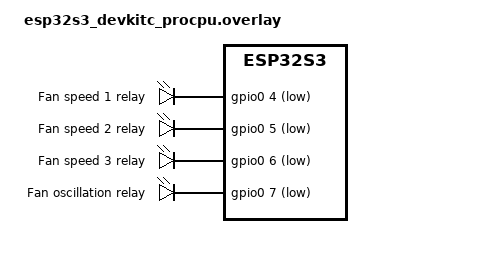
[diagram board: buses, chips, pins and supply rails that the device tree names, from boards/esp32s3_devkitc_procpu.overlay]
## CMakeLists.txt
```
# SPDX-License-Identifier: Apache-2.0

cmake_minimum_required(VERSION 3.20.0)
find_package(Zephyr REQUIRED HINTS $ENV{ZEPHYR_BASE})
project(wifi_fan)

target_sources(app PRIVATE
  src/main.c
  src/fan_controller.c
  src/wifi_manager.c
  src/time_manager.c
  src/mqtt_tls.c
  src/mqtt_fan.c
)

set(gen_dir ${ZEPHYR_BINARY_DIR}/include/generated)

generate_inc_file_for_target(
  app
  ${APPLICATION_SOURCE_DIR}/certs/fan-ca.crt
  ${gen_dir}/fan-ca.crt.inc
)
```

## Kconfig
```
# SPDX-License-Identifier: Apache-2.0

mainmenu "Wi-Fi fan controller"

menu "Wi-Fi fan settings"

config WIFI_FAN_WIFI_SSID
	string "Wi-Fi SSID"
	default ""

config WIFI_FAN_WIFI_PASSWORD
	string "Wi-Fi password"
	default ""

config WIFI_FAN_MQTT_HOST
	string "TLS MQTT broker hostname"
	default "ej3989.iptime.org"

config WIFI_FAN_MQTT_PORT
	int "TLS MQTT broker port"
	default 8883
	range 1 65535

config WIFI_FAN_MQTT_USERNAME
	string "MQTT username"
	default "wifi_fan_device"

config WIFI_FAN_MQTT_PASSWORD
	string "MQTT password"
	default ""

config WIFI_FAN_SNTP_HOST
	string "SNTP server hostname"
	default "pool.ntp.org"

config WIFI_FAN_SNTP_PORT
	int "SNTP server port"
	default 123
	range 1 65535

endmenu

source "Kconfig.zephyr"
```

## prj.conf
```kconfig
# GPIO relay control
CONFIG_GPIO=y

# Wi-Fi and IPv4 networking
CONFIG_NETWORKING=y
CONFIG_WIFI=y
CONFIG_WIFI_NM=y
CONFIG_NET_MGMT=y
CONFIG_NET_MGMT_EVENT=y
CONFIG_NET_MGMT_EVENT_INFO=y
CONFIG_NET_CONNECTION_MANAGER=y
CONFIG_NET_CONFIG_AUTO_INIT=n
CONFIG_NET_IPV4=y
CONFIG_NET_IPV6=n
CONFIG_NET_DHCPV4=y
CONFIG_NET_TCP=y
CONFIG_NET_UDP=y
CONFIG_NET_SOCKETS=y

# MQTT 3.1.1 over the local network
CONFIG_MQTT_LIB=y
CONFIG_MQTT_LIB_TLS=n
CONFIG_MQTT_KEEPALIVE=30
CONFIG_POSIX_API=y

# Runtime resources
CONFIG_MAIN_STACK_SIZE=6144
CONFIG_SYSTEM_WORKQUEUE_STACK_SIZE=2048
CONFIG_NET_MGMT_EVENT_STACK_SIZE=4096
CONFIG_NET_MGMT_EVENT_QUEUE_SIZE=16
CONFIG_NET_PKT_RX_COUNT=16
CONFIG_NET_PKT_TX_COUNT=16
CONFIG_NET_BUF_RX_COUNT=32
CONFIG_NET_BUF_TX_COUNT=32

# Console and logs
CONFIG_CONSOLE=y
CONFIG_SERIAL=y
CONFIG_LOG=y
CONFIG_LOG_DEFAULT_LEVEL=3
```

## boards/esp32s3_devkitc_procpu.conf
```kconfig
CONFIG_SPIRAM_MODE_OCT=y
CONFIG_ESPTOOLPY_OCT_FLASH=n
# ESP32-S3 Wi-Fi station support
CONFIG_WIFI=y
CONFIG_WIFI_ESP32=y
CONFIG_ESP32_WIFI_STA_SCAN_ALL=y
```

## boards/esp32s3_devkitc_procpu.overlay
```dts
#include <zephyr/dt-bindings/gpio/gpio.h>

/ {
	aliases {
		fan-speed-1-relay = &fan_speed_1_relay;
		fan-speed-2-relay = &fan_speed_2_relay;
		fan-speed-3-relay = &fan_speed_3_relay;
		fan-osc-relay = &fan_osc_relay;
	};

	relays {
		compatible = "gpio-leds";

		fan_speed_1_relay: fan_speed_1_relay {
			gpios = <&gpio0 4 GPIO_ACTIVE_LOW>;
			label = "Fan speed 1 relay";
		};

		fan_speed_2_relay: fan_speed_2_relay {
			gpios = <&gpio0 5 GPIO_ACTIVE_LOW>;
			label = "Fan speed 2 relay";
		};

		fan_speed_3_relay: fan_speed_3_relay {
			gpios = <&gpio0 6 GPIO_ACTIVE_LOW>;
			label = "Fan speed 3 relay";
		};

		fan_osc_relay: fan_osc_relay {
			gpios = <&gpio0 7 GPIO_ACTIVE_LOW>;
			label = "Fan oscillation relay";
		};
	};
};
```

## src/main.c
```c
/* SPDX-License-Identifier: Apache-2.0 */

#include <zephyr/kernel.h>
#include <zephyr/logging/log.h>

#include "fan_controller.h"
#include "mqtt_fan.h"
#include "mqtt_tls.h"
#include "time_manager.h"
#include "wifi_manager.h"

LOG_MODULE_REGISTER(wifi_fan, LOG_LEVEL_INF);

int main(void)
{
	int err;

	LOG_INF("Wi-Fi fan controller start");

	err = fan_controller_init();
	if (err != 0) {
		return err;
	}

	err = wifi_manager_init();
	if (err != 0) {
		return err;
	}

	err = mqtt_tls_init();
	if (err != 0) {
		return err;
	}

	while (true) {
		if (!wifi_manager_is_connected()) {
			err = wifi_manager_connect();
			if (err != 0) {
				LOG_WRN("Wi-Fi unavailable; retrying in 10 seconds");
				k_sleep(K_SECONDS(10));
				continue;
			}
		}

		err = time_manager_sync();
		if (err != 0) {
			LOG_WRN("Time unavailable; retrying in 10 seconds");
			k_sleep(K_SECONDS(10));
			continue;
		}

		err = mqtt_fan_run();
		LOG_WRN("MQTT session ended (err %d); reconnecting", err);
		k_sleep(K_SECONDS(5));
	}

	return 0;
}
```

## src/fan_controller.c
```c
/* SPDX-License-Identifier: Apache-2.0 */

#include <errno.h>

#include <zephyr/device.h>
#include <zephyr/drivers/gpio.h>
#include <zephyr/kernel.h>
#include <zephyr/logging/log.h>

#include "fan_controller.h"

LOG_MODULE_REGISTER(fan_controller, LOG_LEVEL_INF);

#define SPEED_1_RELAY_NODE DT_ALIAS(fan_speed_1_relay)
#define SPEED_2_RELAY_NODE DT_ALIAS(fan_speed_2_relay)
#define SPEED_3_RELAY_NODE DT_ALIAS(fan_speed_3_relay)
#define OSC_RELAY_NODE     DT_ALIAS(fan_osc_relay)

#define FAN_SPEED_MAX 3U
#define RELAY_BREAK_TIME_MS 100

static const struct gpio_dt_spec speed_relays[] = {
	GPIO_DT_SPEC_GET(SPEED_1_RELAY_NODE, gpios),
	GPIO_DT_SPEC_GET(SPEED_2_RELAY_NODE, gpios),
	GPIO_DT_SPEC_GET(SPEED_3_RELAY_NODE, gpios),
};
static const struct gpio_dt_spec oscillation_relay =
	GPIO_DT_SPEC_GET(OSC_RELAY_NODE, gpios);

static struct fan_state current_state;
static uint8_t last_nonzero_speed = 1U;

static int all_speed_relays_off(void)
{
	int err;

	for (size_t i = 0; i < ARRAY_SIZE(speed_relays); ++i) {
		err = gpio_pin_set_dt(&speed_relays[i], 0);
		if (err != 0) {
			LOG_ERR("Failed to turn speed relay %u off (err %d)",
				(unsigned int)i + 1U, err);
			return err;
		}
	}

	return 0;
}

int fan_controller_init(void)
{
	int err;

	for (size_t i = 0; i < ARRAY_SIZE(speed_relays); ++i) {
		if (!gpio_is_ready_dt(&speed_relays[i])) {
			LOG_ERR("Speed relay %u GPIO is not ready", (unsigned int)i + 1U);
			return -ENODEV;
		}

		err = gpio_pin_configure_dt(&speed_relays[i], GPIO_OUTPUT_INACTIVE);
		if (err != 0) {
			LOG_ERR("Failed to initialize speed relay %u (err %d)",
				(unsigned int)i + 1U, err);
			return err;
		}
	}

	if (!gpio_is_ready_dt(&oscillation_relay)) {
		LOG_ERR("Oscillation relay GPIO is not ready");
		return -ENODEV;
	}

	err = gpio_pin_configure_dt(&oscillation_relay, GPIO_OUTPUT_INACTIVE);
	if (err != 0) {
		LOG_ERR("Failed to initialize oscillation relay (err %d)", err);
		return err;
	}

	current_state.speed = 0U;
	current_state.oscillating = false;
	LOG_INF("All active-high relays initialized OFF");
	return 0;
}

int fan_set_speed(uint8_t speed)
{
	int err;

	if (speed > FAN_SPEED_MAX) {
		return -EINVAL;
	}

	if (current_state.speed == speed) {
		return 0;
	}

	err = all_speed_relays_off();
	if (err != 0) {
		return err;
	}
	current_state.speed = 0U;

	if (speed == 0U) {
		LOG_INF("Fan speed OFF");
		return 0;
	}

	/* Break-before-make prevents two motor speed taps overlapping. */
	k_msleep(RELAY_BREAK_TIME_MS);
	err = gpio_pin_set_dt(&speed_relays[speed - 1U], 1);
	if (err != 0) {
		LOG_ERR("Failed to turn speed relay %u on (err %d)",
			(unsigned int)speed, err);
		return err;
	}

	current_state.speed = speed;
	last_nonzero_speed = speed;
	LOG_INF("Fan speed %u ON", (unsigned int)speed);
	return 0;
}

int fan_set_oscillation(bool oscillating)
{
	int err;

	if (current_state.oscillating == oscillating) {
		return 0;
	}

	err = gpio_pin_set_dt(&oscillation_relay, oscillating ? 1 : 0);
	if (err != 0) {
		LOG_ERR("Failed to control oscillation relay (err %d)", err);
		return err;
	}

	current_state.oscillating = oscillating;
	LOG_INF("Oscillation %s", oscillating ? "ON" : "OFF");
	return 0;
}

int fan_turn_on(void)
{
	return fan_set_speed(last_nonzero_speed);
}

int fan_turn_off(void)
{
	int speed_err;
	int oscillation_err;

	speed_err = fan_set_speed(0U);
	oscillation_err = fan_set_oscillation(false);

	return speed_err != 0 ? speed_err : oscillation_err;
}

struct fan_state fan_get_state(void)
{
	return current_state;
}
```

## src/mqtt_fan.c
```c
/* SPDX-License-Identifier: Apache-2.0 */

#include <errno.h>
#include <stdbool.h>
#include <stdio.h>
#include <string.h>

#include <zephyr/kernel.h>
#include <zephyr/logging/log.h>
#include <zephyr/net/mqtt.h>
#include <zephyr/net/socket.h>
#include <zephyr/posix/arpa/inet.h>
#include <zephyr/posix/poll.h>

#include "fan_controller.h"
#include "mqtt_fan.h"
#include "mqtt_tls.h"
#include "wifi_manager.h"

LOG_MODULE_REGISTER(mqtt_fan, LOG_LEVEL_INF);

#define MQTT_RX_BUFFER_SIZE 1024
#define MQTT_TX_BUFFER_SIZE 2048
#define MQTT_COMMAND_BUFFER_SIZE 32
#define MQTT_CONNECT_TIMEOUT_MS 10000
#define MQTT_POLL_TIMEOUT_MS 1000
#define RSSI_PUBLISH_INTERVAL_MS 30000

#define TOPIC_POWER_COMMAND       "wifi_fan/power/set"
#define TOPIC_POWER_STATE         "wifi_fan/power/state"
#define TOPIC_SPEED_COMMAND       "wifi_fan/speed/set"
#define TOPIC_SPEED_STATE         "wifi_fan/speed/state"
#define TOPIC_OSC_COMMAND         "wifi_fan/oscillation/set"
#define TOPIC_OSC_STATE           "wifi_fan/oscillation/state"
#define TOPIC_AVAILABILITY        "wifi_fan/availability"
#define TOPIC_RSSI_STATE          "wifi_fan/wifi_rssi/state"
#define TOPIC_FAN_DISCOVERY       "homeassistant/fan/wifi_fan_esp32s3/fan/config"
#define TOPIC_RSSI_DISCOVERY      "homeassistant/sensor/wifi_fan_esp32s3/rssi/config"

#define MQTT_CLIENT_ID "wifi_fan_esp32s3"

static const char fan_discovery_payload[] =
	"{"
	"\"name\":\"Bedroom Fan\","
	"\"unique_id\":\"wifi_fan_esp32s3_fan\","
	"\"command_topic\":\"" TOPIC_POWER_COMMAND "\","
	"\"state_topic\":\"" TOPIC_POWER_STATE "\","
	"\"payload_on\":\"ON\",\"payload_off\":\"OFF\","
	"\"percentage_command_topic\":\"" TOPIC_SPEED_COMMAND "\","
	"\"percentage_state_topic\":\"" TOPIC_SPEED_STATE "\","
	"\"speed_range_min\":1,\"speed_range_max\":3,"
	"\"oscillation_command_topic\":\"" TOPIC_OSC_COMMAND "\","
	"\"oscillation_state_topic\":\"" TOPIC_OSC_STATE "\","
	"\"payload_oscillation_on\":\"ON\","
	"\"payload_oscillation_off\":\"OFF\","
	"\"availability_topic\":\"" TOPIC_AVAILABILITY "\","
	"\"payload_available\":\"online\","
	"\"payload_not_available\":\"offline\","
	"\"retain\":false,"
	"\"device\":{"
	"\"identifiers\":[\"wifi_fan_esp32s3\"],"
	"\"name\":\"Bedroom Fan Controller\","
	"\"manufacturer\":\"Zephyr practice\","
	"\"model\":\"ESP32-S3 Wi-Fi relay fan\"}"
	"}";

static const char rssi_discovery_payload[] =
	"{"
	"\"name\":\"Wi-Fi RSSI\","
	"\"unique_id\":\"wifi_fan_esp32s3_rssi\","
	"\"state_topic\":\"" TOPIC_RSSI_STATE "\","
	"\"availability_topic\":\"" TOPIC_AVAILABILITY "\","
	"\"device_class\":\"signal_strength\","
	"\"state_class\":\"measurement\","
	"\"unit_of_measurement\":\"dBm\","
	"\"entity_category\":\"diagnostic\","
	"\"device\":{\"identifiers\":[\"wifi_fan_esp32s3\"]}"
	"}";

static uint8_t mqtt_rx_buffer[MQTT_RX_BUFFER_SIZE];
static uint8_t mqtt_tx_buffer[MQTT_TX_BUFFER_SIZE];
static struct mqtt_client mqtt_client_ctx;
static struct sockaddr_in broker_address;
static struct pollfd mqtt_poll_fd;
static bool mqtt_connected;
static bool fan_state_dirty;
static uint16_t next_message_id = 1U;

static struct mqtt_utf8 mqtt_username;
static struct mqtt_utf8 mqtt_password;
static struct mqtt_topic mqtt_will_topic;
static struct mqtt_utf8 mqtt_will_message;

static uint16_t allocate_message_id(void)
{
	uint16_t id = next_message_id++;

	if (next_message_id == 0U) {
		next_message_id = 1U;
	}
	return id;
}

static bool topic_equals(const struct mqtt_utf8 *topic, const char *expected)
{
	size_t expected_length = strlen(expected);

	return topic->size == expected_length &&
	       memcmp(topic->utf8, expected, expected_length) == 0;
}

static int publish_text(const char *topic, const char *payload,
			bool retain, enum mqtt_qos qos)
{
	struct mqtt_publish_param param = {0};

	param.message.topic.topic.utf8 = (uint8_t *)topic;
	param.message.topic.topic.size = strlen(topic);
	param.message.topic.qos = qos;
	param.message.payload.data = (uint8_t *)payload;
	param.message.payload.len = strlen(payload);
	param.message_id = qos == MQTT_QOS_0_AT_MOST_ONCE ?
		0U : allocate_message_id();
	param.retain_flag = retain ? 1U : 0U;

	return mqtt_publish(&mqtt_client_ctx, &param);
}

static int publish_fan_state(void)
{
	struct fan_state state = fan_get_state();
	char speed[2];
	int err;

	snprintk(speed, sizeof(speed), "%u", (unsigned int)state.speed);

	err = publish_text(TOPIC_POWER_STATE,
			   state.speed > 0U ? "ON" : "OFF", true,
			   MQTT_QOS_1_AT_LEAST_ONCE);
	if (err == 0) {
		err = publish_text(TOPIC_SPEED_STATE, speed, true,
				   MQTT_QOS_1_AT_LEAST_ONCE);
	}
	if (err == 0) {
		err = publish_text(TOPIC_OSC_STATE,
				   state.oscillating ? "ON" : "OFF", true,
				   MQTT_QOS_1_AT_LEAST_ONCE);
	}

	if (err != 0) {
		LOG_ERR("Failed to publish fan state (err %d)", err);
	}
	return err;
}

static int publish_rssi(void)
{
	char payload[16];
	int rssi;
	int err;

	err = wifi_manager_get_rssi(&rssi);
	if (err != 0) {
		LOG_WRN("Failed to read Wi-Fi RSSI (err %d)", err);
		return err;
	}

	snprintk(payload, sizeof(payload), "%d", rssi);
	err = publish_text(TOPIC_RSSI_STATE, payload, true,
			   MQTT_QOS_1_AT_LEAST_ONCE);
	if (err == 0) {
		LOG_INF("Wi-Fi RSSI: %d dBm", rssi);
	}
	return err;
}

static int publish_discovery(void)
{
	int err;

	err = publish_text(TOPIC_FAN_DISCOVERY, fan_discovery_payload, true,
			   MQTT_QOS_1_AT_LEAST_ONCE);
	if (err == 0) {
		err = publish_text(TOPIC_RSSI_DISCOVERY, rssi_discovery_payload, true,
				   MQTT_QOS_1_AT_LEAST_ONCE);
	}

	return err;
}

static int apply_command(const struct mqtt_utf8 *topic, const char *payload)
{
	int err = -EINVAL;

	if (topic_equals(topic, TOPIC_POWER_COMMAND)) {
		if (strcmp(payload, "ON") == 0) {
			err = fan_turn_on();
		} else if (strcmp(payload, "OFF") == 0) {
			err = fan_turn_off();
		}
	} else if (topic_equals(topic, TOPIC_SPEED_COMMAND)) {
		if (strcmp(payload, "0") == 0) {
			err = fan_set_speed(0U);
		} else if (strcmp(payload, "1") == 0) {
			err = fan_set_speed(1U);
		} else if (strcmp(payload, "2") == 0) {
			err = fan_set_speed(2U);
		} else if (strcmp(payload, "3") == 0) {
			err = fan_set_speed(3U);
		}
	} else if (topic_equals(topic, TOPIC_OSC_COMMAND)) {
		if (strcmp(payload, "ON") == 0) {
			err = fan_set_oscillation(true);
		} else if (strcmp(payload, "OFF") == 0) {
			err = fan_set_oscillation(false);
		}
	}

	if (err == 0) {
		fan_state_dirty = true;
		LOG_INF("Applied MQTT command: %s", payload);
	} else {
		LOG_WRN("Ignored invalid MQTT command payload '%s'", payload);
	}
	return err;
}

static int discard_publish_payload(size_t length)
{
	uint8_t discard[32];
	size_t remaining = length;
	int err;

	while (remaining > 0U) {
		size_t chunk = MIN(remaining, sizeof(discard));

		err = mqtt_readall_publish_payload(&mqtt_client_ctx, discard, chunk);
		if (err != 0) {
			return err;
		}
		remaining -= chunk;
	}

	return 0;
}

static void handle_publish(const struct mqtt_publish_param *publish)
{
	char payload[MQTT_COMMAND_BUFFER_SIZE];
	size_t length = publish->message.payload.len;
	int err;

	if (length >= sizeof(payload)) {
		LOG_WRN("Ignoring oversized MQTT command (%u bytes)",
			(unsigned int)length);
		(void)discard_publish_payload(length);
		return;
	}

	err = mqtt_readall_publish_payload(&mqtt_client_ctx,
					   (uint8_t *)payload, length);
	if (err != 0) {
		LOG_ERR("Failed to read MQTT payload (err %d)", err);
		return;
	}
	payload[length] = '\0';

	/* A retained command could unexpectedly restart the fan after reboot. */
	if (publish->retain_flag != 0U) {
		LOG_WRN("Ignored retained MQTT command");
		return;
	}

	(void)apply_command(&publish->message.topic.topic, payload);
}

static void mqtt_event_handler(struct mqtt_client *const client,
			       const struct mqtt_evt *event)
{
	int err;

	switch (event->type) {
	case MQTT_EVT_CONNACK:
		if (event->result == 0) {
			mqtt_connected = true;
			LOG_INF("Connected to MQTT broker");
		} else {
			LOG_ERR("MQTT connection rejected (result %d)", event->result);
		}
		break;

	case MQTT_EVT_DISCONNECT:
		mqtt_connected = false;
		LOG_WRN("Disconnected from MQTT broker (result %d)", event->result);
		break;

	case MQTT_EVT_PUBLISH:
		handle_publish(&event->param.publish);
		if (event->param.publish.message.topic.qos ==
		    MQTT_QOS_1_AT_LEAST_ONCE) {
			const struct mqtt_puback_param ack = {
				.message_id = event->param.publish.message_id,
			};

			err = mqtt_publish_qos1_ack(client, &ack);
			if (err != 0) {
				LOG_WRN("Failed to acknowledge MQTT command (err %d)", err);
			}
		}
		break;

	case MQTT_EVT_SUBACK:
		LOG_INF("MQTT command topics subscribed");
		break;

	case MQTT_EVT_PUBACK:
	case MQTT_EVT_PINGRESP:
		break;

	default:
		break;
	}
}

static int subscribe_to_commands(void)
{
	struct mqtt_topic topics[] = {
		{
			.topic = {
				.utf8 = (uint8_t *)TOPIC_POWER_COMMAND,
				.size = sizeof(TOPIC_POWER_COMMAND) - 1U,
			},
			.qos = MQTT_QOS_0_AT_MOST_ONCE,
		},
		{
			.topic = {
				.utf8 = (uint8_t *)TOPIC_SPEED_COMMAND,
				.size = sizeof(TOPIC_SPEED_COMMAND) - 1U,
			},
			.qos = MQTT_QOS_0_AT_MOST_ONCE,
		},
		{
			.topic = {
				.utf8 = (uint8_t *)TOPIC_OSC_COMMAND,
				.size = sizeof(TOPIC_OSC_COMMAND) - 1U,
			},
			.qos = MQTT_QOS_0_AT_MOST_ONCE,
		},
	};
	const struct mqtt_subscription_list subscriptions = {
		.list = topics,
		.list_count = ARRAY_SIZE(topics),
		.message_id = allocate_message_id(),
	};

	return mqtt_subscribe(&mqtt_client_ctx, &subscriptions);
}

static int mqtt_socket_poll(int timeout_ms)
{
	mqtt_poll_fd.fd = mqtt_client_ctx.transport.tls.sock;
	mqtt_poll_fd.events = POLLIN;
	mqtt_poll_fd.revents = 0;

	return poll(&mqtt_poll_fd, 1, timeout_ms);
}

static int resolve_broker_address(void)
{
	char port[6];
	char resolved_address[INET_ADDRSTRLEN];
	struct zsock_addrinfo *result = NULL;
	const struct zsock_addrinfo hints = {
		.ai_family = AF_INET,
		.ai_socktype = SOCK_STREAM,
	};
	int err;

	snprintk(port, sizeof(port), "%d", CONFIG_WIFI_FAN_MQTT_PORT);
	err = zsock_getaddrinfo(CONFIG_WIFI_FAN_MQTT_HOST, port, &hints,
			       &result);
	if (err != 0) {
		LOG_ERR("Failed to resolve MQTT host '%s': %s",
			CONFIG_WIFI_FAN_MQTT_HOST, zsock_gai_strerror(err));
		return -EHOSTUNREACH;
	}
	if (result == NULL || result->ai_addr == NULL ||
	    result->ai_addrlen < sizeof(broker_address)) {
		LOG_ERR("No IPv4 address found for MQTT host '%s'",
			CONFIG_WIFI_FAN_MQTT_HOST);
		if (result != NULL) {
			zsock_freeaddrinfo(result);
		}
		return -ENOENT;
	}

	memcpy(&broker_address, result->ai_addr, sizeof(broker_address));
	zsock_freeaddrinfo(result);

	if (inet_ntop(AF_INET, &broker_address.sin_addr, resolved_address,
		      sizeof(resolved_address)) != NULL) {
		LOG_INF("Resolved MQTT host '%s' to %s",
			CONFIG_WIFI_FAN_MQTT_HOST, resolved_address);
	}

	return 0;
}

static void mqtt_client_prepare(void)
{
	mqtt_client_init(&mqtt_client_ctx);

	mqtt_client_ctx.broker = &broker_address;
	mqtt_client_ctx.evt_cb = mqtt_event_handler;
	mqtt_client_ctx.client_id.utf8 = (uint8_t *)MQTT_CLIENT_ID;
	mqtt_client_ctx.client_id.size = sizeof(MQTT_CLIENT_ID) - 1U;
	mqtt_client_ctx.protocol_version = MQTT_VERSION_3_1_1;
	mqtt_client_ctx.transport.type = MQTT_TRANSPORT_SECURE;
	mqtt_client_ctx.rx_buf = mqtt_rx_buffer;
	mqtt_client_ctx.rx_buf_size = sizeof(mqtt_rx_buffer);
	mqtt_client_ctx.tx_buf = mqtt_tx_buffer;
	mqtt_client_ctx.tx_buf_size = sizeof(mqtt_tx_buffer);
	mqtt_client_ctx.keepalive = 30U;
	mqtt_client_ctx.clean_session = 1U;

	mqtt_username.utf8 = (uint8_t *)CONFIG_WIFI_FAN_MQTT_USERNAME;
	mqtt_username.size = strlen(CONFIG_WIFI_FAN_MQTT_USERNAME);
	mqtt_client_ctx.user_name = &mqtt_username;

	mqtt_password.utf8 = (uint8_t *)CONFIG_WIFI_FAN_MQTT_PASSWORD;
	mqtt_password.size = strlen(CONFIG_WIFI_FAN_MQTT_PASSWORD);
	mqtt_client_ctx.password = &mqtt_password;

	mqtt_client_ctx.transport.tls.config.peer_verify =
		TLS_PEER_VERIFY_REQUIRED;
	mqtt_client_ctx.transport.tls.config.cipher_list = NULL;
	mqtt_client_ctx.transport.tls.config.sec_tag_list = mqtt_tls_sec_tags;
	mqtt_client_ctx.transport.tls.config.sec_tag_count =
		MQTT_TLS_SEC_TAG_COUNT;
	mqtt_client_ctx.transport.tls.config.hostname =
		CONFIG_WIFI_FAN_MQTT_HOST;

	mqtt_will_topic.topic.utf8 = (uint8_t *)TOPIC_AVAILABILITY;
	mqtt_will_topic.topic.size = sizeof(TOPIC_AVAILABILITY) - 1U;
	mqtt_will_topic.qos = MQTT_QOS_1_AT_LEAST_ONCE;
	mqtt_will_message.utf8 = (uint8_t *)"offline";
	mqtt_will_message.size = sizeof("offline") - 1U;
	mqtt_client_ctx.will_topic = &mqtt_will_topic;
	mqtt_client_ctx.will_message = &mqtt_will_message;
	mqtt_client_ctx.will_retain = 1U;
}

static int wait_for_connack(void)
{
	int64_t deadline = k_uptime_get() + MQTT_CONNECT_TIMEOUT_MS;
	int err;

	while (!mqtt_connected && k_uptime_get() < deadline) {
		err = mqtt_socket_poll(MQTT_POLL_TIMEOUT_MS);
		if (err < 0) {
			return -errno;
		}
		if (err > 0 && (mqtt_poll_fd.revents & POLLIN) != 0) {
			err = mqtt_input(&mqtt_client_ctx);
			if (err != 0) {
				return err;
			}
		}
		if ((mqtt_poll_fd.revents & (POLLERR | POLLHUP | POLLNVAL)) != 0) {
			return -ENOTCONN;
		}
	}

	return mqtt_connected ? 0 : -ETIMEDOUT;
}

int mqtt_fan_run(void)
{
	int64_t next_rssi_publish;
	int err;

	if (strlen(CONFIG_WIFI_FAN_MQTT_USERNAME) == 0U ||
	    strlen(CONFIG_WIFI_FAN_MQTT_PASSWORD) == 0U) {
		LOG_ERR("MQTT TLS username and password must be configured");
		return -EINVAL;
	}

	err = resolve_broker_address();
	if (err != 0) {
		return err;
	}

	mqtt_connected = false;
	mqtt_client_prepare();

	LOG_INF("Connecting to MQTT broker %s:%d",
		CONFIG_WIFI_FAN_MQTT_HOST, CONFIG_WIFI_FAN_MQTT_PORT);
	err = mqtt_connect(&mqtt_client_ctx);
	if (err != 0) {
		return err;
	}

	err = wait_for_connack();
	if (err != 0) {
		mqtt_abort(&mqtt_client_ctx);
		return err;
	}

	err = subscribe_to_commands();
	if (err == 0) {
		err = publish_discovery();
	}
	if (err == 0) {
		err = publish_text(TOPIC_AVAILABILITY, "online", true,
				   MQTT_QOS_1_AT_LEAST_ONCE);
	}
	if (err == 0) {
		err = publish_fan_state();
	}
	if (err == 0) {
		err = publish_rssi();
	}
	if (err != 0) {
		mqtt_abort(&mqtt_client_ctx);
		return err;
	}

	next_rssi_publish = k_uptime_get() + RSSI_PUBLISH_INTERVAL_MS;
	while (wifi_manager_is_connected() && mqtt_connected) {
		err = mqtt_socket_poll(MQTT_POLL_TIMEOUT_MS);
		if (err < 0) {
			err = -errno;
			break;
		}
		if (err > 0 && (mqtt_poll_fd.revents & POLLIN) != 0) {
			err = mqtt_input(&mqtt_client_ctx);
			if (err != 0) {
				break;
			}
		}
		if ((mqtt_poll_fd.revents & (POLLERR | POLLHUP | POLLNVAL)) != 0) {
			err = -ENOTCONN;
			break;
		}

		err = mqtt_live(&mqtt_client_ctx);
		if (err != 0 && err != -EAGAIN) {
			break;
		}

		if (fan_state_dirty) {
			fan_state_dirty = false;
			err = publish_fan_state();
			if (err != 0) {
				break;
			}
		}

		if (k_uptime_get() >= next_rssi_publish) {
			(void)publish_rssi();
			next_rssi_publish =
				k_uptime_get() + RSSI_PUBLISH_INTERVAL_MS;
		}
	}

	mqtt_connected = false;
	mqtt_abort(&mqtt_client_ctx);
	return err != 0 ? err : -ENOTCONN;
}
```

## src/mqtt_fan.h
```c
/* SPDX-License-Identifier: Apache-2.0 */

#ifndef WIFI_FAN_MQTT_FAN_H_
#define WIFI_FAN_MQTT_FAN_H_

int mqtt_fan_run(void);

#endif /* WIFI_FAN_MQTT_FAN_H_ */
```

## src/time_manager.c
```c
/* SPDX-License-Identifier: Apache-2.0 */

#include <errno.h>
#include <stdint.h>
#include <string.h>

#include <zephyr/kernel.h>
#include <zephyr/logging/log.h>
#include <zephyr/net/sntp.h>
#include <zephyr/net/socket.h>
#include <zephyr/sys/clock.h>

#include "time_manager.h"

LOG_MODULE_REGISTER(time_manager, LOG_LEVEL_INF);

#define SNTP_QUERY_TIMEOUT_MS 5000
#define MIN_VALID_UNIX_TIME 1735689600LL /* 2025-01-01 00:00:00 UTC */

static bool system_time_is_valid(void)
{
	struct timespec now;

	return sys_clock_gettime(SYS_CLOCK_REALTIME, &now) == 0 &&
	       now.tv_sec >= MIN_VALID_UNIX_TIME;
}

static int resolve_sntp_address(struct sockaddr_in *server_address)
{
	char port[6];
	struct zsock_addrinfo *result = NULL;
	const struct zsock_addrinfo hints = {
		.ai_family = AF_INET,
		.ai_socktype = SOCK_DGRAM,
	};
	int err;

	snprintk(port, sizeof(port), "%d", CONFIG_WIFI_FAN_SNTP_PORT);
	err = zsock_getaddrinfo(CONFIG_WIFI_FAN_SNTP_HOST, port, &hints,
			       &result);
	if (err != 0) {
		LOG_ERR("Failed to resolve SNTP host '%s': %s",
			CONFIG_WIFI_FAN_SNTP_HOST, zsock_gai_strerror(err));
		return -EHOSTUNREACH;
	}
	if (result == NULL || result->ai_addr == NULL ||
	    result->ai_addrlen < sizeof(*server_address)) {
		LOG_ERR("No IPv4 address found for SNTP host '%s'",
			CONFIG_WIFI_FAN_SNTP_HOST);
		if (result != NULL) {
			zsock_freeaddrinfo(result);
		}
		return -ENOENT;
	}

	memcpy(server_address, result->ai_addr, sizeof(*server_address));
	zsock_freeaddrinfo(result);
	return 0;
}

int time_manager_sync(void)
{
	struct sockaddr_in server_address;
	struct sntp_ctx context;
	struct sntp_time sntp_time;
	struct timespec system_time;
	int err;

	if (system_time_is_valid()) {
		return 0;
	}

	memset(&server_address, 0, sizeof(server_address));
	err = resolve_sntp_address(&server_address);
	if (err != 0) {
		return err;
	}

	LOG_INF("Synchronizing time with '%s'", CONFIG_WIFI_FAN_SNTP_HOST);
	err = sntp_init(&context, (struct sockaddr *)&server_address,
			sizeof(server_address));
	if (err != 0) {
		LOG_ERR("Failed to initialize SNTP (err %d)", err);
		return err;
	}

	err = sntp_query(&context, SNTP_QUERY_TIMEOUT_MS, &sntp_time);
	sntp_close(&context);
	if (err != 0) {
		LOG_ERR("SNTP query failed (err %d)", err);
		return err;
	}

	system_time.tv_sec = sntp_time.seconds;
	system_time.tv_nsec =
		(long)(((uint64_t)sntp_time.fraction * 1000000000ULL) >> 32);
	err = sys_clock_settime(SYS_CLOCK_REALTIME, &system_time);
	if (err != 0) {
		LOG_ERR("Failed to set system time (err %d)", err);
		return err;
	}

	LOG_INF("System time synchronized (epoch %lld)",
		(long long)system_time.tv_sec);
	return 0;
}
```

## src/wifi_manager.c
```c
/* SPDX-License-Identifier: Apache-2.0 */

#include <errno.h>
#include <string.h>

#include <zephyr/kernel.h>
#include <zephyr/logging/log.h>
#include <zephyr/net/net_if.h>
#include <zephyr/net/dhcpv4.h>
#include <zephyr/net/net_mgmt.h>
#include <zephyr/net/wifi_mgmt.h>
#include <zephyr/sys/atomic.h>

#include "wifi_manager.h"

LOG_MODULE_REGISTER(wifi_manager, LOG_LEVEL_INF);

#define WIFI_EVENTS \
	(NET_EVENT_WIFI_CONNECT_RESULT | NET_EVENT_WIFI_DISCONNECT_RESULT)
#define WIFI_CONNECT_TIMEOUT K_SECONDS(20)
#define DHCP_TIMEOUT_SECONDS 30

static struct net_if *wifi_iface;
static struct net_mgmt_event_callback wifi_callback;
static K_SEM_DEFINE(wifi_result_sem, 0, 1);
static atomic_t wifi_connected;
static int wifi_connect_result;

static void wifi_event_handler(struct net_mgmt_event_callback *cb,
			       uint64_t event, struct net_if *iface)
{
	const struct wifi_status *status = cb->info;

	ARG_UNUSED(iface);

	if (event == NET_EVENT_WIFI_CONNECT_RESULT) {
		wifi_connect_result = status != NULL ? status->status : -EIO;
		if (wifi_connect_result == 0) {
			atomic_set(&wifi_connected, 1);
			LOG_INF("Connected to Wi-Fi access point");
		} else {
			atomic_clear(&wifi_connected);
			LOG_ERR("Wi-Fi connection failed (status %d)",
				wifi_connect_result);
		}
		k_sem_give(&wifi_result_sem);
	} else if (event == NET_EVENT_WIFI_DISCONNECT_RESULT) {
		atomic_clear(&wifi_connected);
		LOG_WRN("Wi-Fi disconnected");
	}
}

int wifi_manager_init(void)
{
	wifi_iface = net_if_get_wifi_sta();
	if (wifi_iface == NULL) {
		LOG_ERR("Wi-Fi station interface was not found");
		return -ENODEV;
	}

	net_mgmt_init_event_callback(&wifi_callback, wifi_event_handler, WIFI_EVENTS);
	net_mgmt_add_event_callback(&wifi_callback);
	return 0;
}

int wifi_manager_connect(void)
{
	struct wifi_connect_req_params params = {0};
	struct net_in_addr *address;
	int err;

	if (strlen(CONFIG_WIFI_FAN_WIFI_SSID) == 0U) {
		LOG_ERR("CONFIG_WIFI_FAN_WIFI_SSID is empty");
		return -EINVAL;
	}

	params.ssid = CONFIG_WIFI_FAN_WIFI_SSID;
	params.ssid_length = strlen(CONFIG_WIFI_FAN_WIFI_SSID);
	params.channel = WIFI_CHANNEL_ANY;
	params.band = WIFI_FREQ_BAND_UNKNOWN;
	params.mfp = WIFI_MFP_OPTIONAL;

	if (strlen(CONFIG_WIFI_FAN_WIFI_PASSWORD) == 0U) {
		params.security = WIFI_SECURITY_TYPE_NONE;
	} else {
		params.security = WIFI_SECURITY_TYPE_PSK;
		params.psk = CONFIG_WIFI_FAN_WIFI_PASSWORD;
		params.psk_length = strlen(CONFIG_WIFI_FAN_WIFI_PASSWORD);
	}

	atomic_clear(&wifi_connected);
	k_sem_reset(&wifi_result_sem);
	LOG_INF("Connecting to Wi-Fi SSID '%s'", CONFIG_WIFI_FAN_WIFI_SSID);

	err = net_mgmt(NET_REQUEST_WIFI_CONNECT, wifi_iface, &params, sizeof(params));
	if (err != 0) {
		LOG_ERR("Wi-Fi connect request failed (err %d)", err);
		return err;
	}

	err = k_sem_take(&wifi_result_sem, WIFI_CONNECT_TIMEOUT);
	if (err != 0) {
		LOG_ERR("Wi-Fi connection timed out");
		return err;
	}
	if (wifi_connect_result != 0) {
		return -EIO;
	}

	net_dhcpv4_restart(wifi_iface);
	for (int i = 0; i < DHCP_TIMEOUT_SECONDS; ++i) {
		if (!wifi_manager_is_connected()) {
			return -ENETDOWN;
		}

		address = net_if_ipv4_get_global_addr(wifi_iface, NET_ADDR_PREFERRED);
		if (address != NULL) {
			LOG_INF("IPv4 address acquired");
			return 0;
		}
		k_sleep(K_SECONDS(1));
	}

	LOG_ERR("DHCP timed out");
	return -ETIMEDOUT;
}

bool wifi_manager_is_connected(void)
{
	return atomic_get(&wifi_connected) != 0;
}

int wifi_manager_get_rssi(int *rssi)
{
	struct wifi_iface_status status = {0};
	int err;

	if (rssi == NULL) {
		return -EINVAL;
	}

	err = net_mgmt(NET_REQUEST_WIFI_IFACE_STATUS, wifi_iface,
		       &status, sizeof(status));
	if (err != 0) {
		return err;
	}

	*rssi = status.rssi;
	return 0;
}
```
